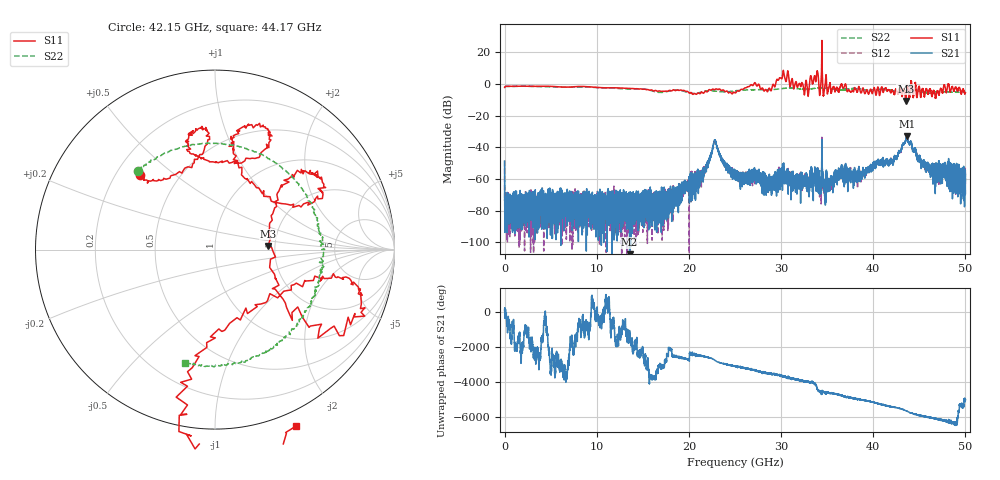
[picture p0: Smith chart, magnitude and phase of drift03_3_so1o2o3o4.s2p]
!Created with skrf (http://scikit-rf.org).
# Hz S RI R 50.0
!freq ReS11 ImS11 ReS21 ImS21 ReS12 ImS12 ReS22 ImS22
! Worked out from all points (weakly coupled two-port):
!   10001 points, 300 kHz to 50 GHz, reference 50 ohm
!   highest |S21| = -33.04 dB at 43.65 GHz (marker M1); lowest = -109.1 dB at 13.57 GHz (marker M2)
!   lowest |S11| = -10.6 dB at 43.53 GHz (marker M3), VSWR 1.84, Z = 91.7 + j4.08 ohm
!   |S11| at or under -10 dB: 43.51464 GHz to 43.53503 GHz (20.4 MHz wide, 0.0469 % of centre); 43.54955 GHz to 43.55191 GHz (2.357 MHz wide, 0.00541 % of centre)
!   |S22| runs from -6.0 to -1.3 dB; largest |S21 - S12| = 0.023
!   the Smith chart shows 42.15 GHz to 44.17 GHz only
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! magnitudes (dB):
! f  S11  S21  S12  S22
! 300 kHz  -2.1  -48.8  -48.2  -2.1
! 255.3 MHz  -1.4  -70.3  -79.3  -1.4
! 500.3 MHz  -1.4  -76.1  -80.1  -1.5
! 8.335 GHz  -1.5  -85.8  -73.5  -1.9
! 13.57 GHz  -2.8  -109.1  -79.3  -3.2
! 16.67 GHz  -4.4  -80.9  -79.2  -5.2
! 21.13 GHz  -6.0  -58.4  -62.8  -5.4
! 22.82 GHz  -3.5  -35.5  -35.5  -4.5
! 25 GHz  -5.5  -59.1  -58.4  -4.3
! 28.79 GHz  -3.0  -61.3  -66.0  -3.5
! 30.14 GHz  4.3  -55.1  -58.3  -2.8
! 32.74 GHz  2.0  -58.8  -56.8  -3.3
! 33.34 GHz  2.3  -56.6  -60.6  -2.9
! 35.26 GHz  -0.4  -66.5  -65.5  -2.7
! 36.43 GHz  -1.4  -55.6  -55.7  -3.9
! 38.47 GHz  -1.8  -53.0  -56.4  -3.1
! 41.67 GHz  -3.6  -49.1  -51.3  -3.7
! 43.53 GHz  -10.6  -35.4  -35.5  -4.2
! 43.65 GHz  -2.4  -33.0  -33.5  -4.1
! 45.51 GHz  -6.9  -48.8  -49.8  -4.9
! 49.53 GHz  -5.9  -55.7  -57.5  -5.1
! 50 GHz  -5.5  -69.2  -63.8  -5.0
